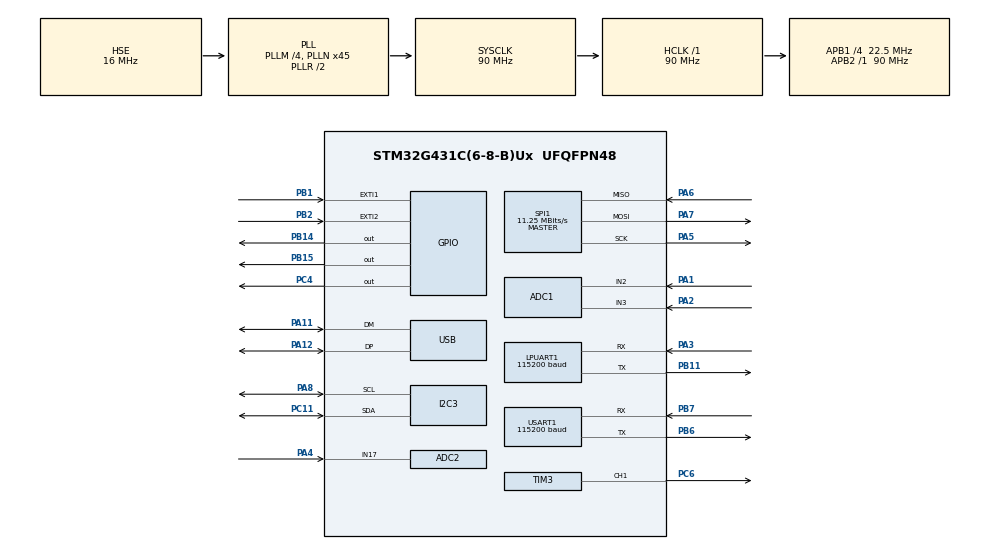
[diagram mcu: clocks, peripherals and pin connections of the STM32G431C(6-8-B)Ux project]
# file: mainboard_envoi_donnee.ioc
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ADC1.Channel-0\#ChannelRegularConversion=ADC_CHANNEL_VREFINT
ADC1.Channel-1\#ChannelRegularConversion=ADC_CHANNEL_TEMPSENSOR_ADC1
ADC1.Channel-2\#ChannelRegularConversion=ADC_CHANNEL_2
ADC1.Channel-3\#ChannelRegularConversion=ADC_CHANNEL_3
ADC1.ContinuousConvMode=ENABLE
ADC1.EOCSelection=ADC_EOC_SEQ_CONV
ADC1.ExternalTrigConv=ADC_EXTERNALTRIG_T4_TRGO
ADC1.NbrOfConversion=4
ADC1.NbrOfConversionFlag=1
ADC1.OffsetNumber-0\#ChannelRegularConversion=ADC_OFFSET_NONE
ADC1.OffsetNumber-1\#ChannelRegularConversion=ADC_OFFSET_NONE
ADC1.OffsetNumber-2\#ChannelRegularConversion=ADC_OFFSET_NONE
ADC1.OffsetNumber-3\#ChannelRegularConversion=ADC_OFFSET_NONE
ADC1.Rank-0\#ChannelRegularConversion=1
ADC1.Rank-1\#ChannelRegularConversion=2
ADC1.Rank-2\#ChannelRegularConversion=3
ADC1.Rank-3\#ChannelRegularConversion=4
ADC1.SamplingTime-0\#ChannelRegularConversion=ADC_SAMPLETIME_640CYCLES_5
ADC1.SamplingTime-1\#ChannelRegularConversion=ADC_SAMPLETIME_640CYCLES_5
ADC1.SamplingTime-2\#ChannelRegularConversion=ADC_SAMPLETIME_640CYCLES_5
ADC1.SamplingTime-3\#ChannelRegularConversion=ADC_SAMPLETIME_640CYCLES_5
ADC1.master=1
ADC2.Channel-0\#ChannelRegularConversion=ADC_CHANNEL_17
ADC2.ContinuousConvMode=ENABLE
ADC2.ExternalTrigConv=ADC_EXTERNALTRIG_T4_TRGO
ADC2.NbrOfConversionFlag=1
ADC2.OffsetNumber-0\#ChannelRegularConversion=ADC_OFFSET_NONE
ADC2.Rank-0\#ChannelRegularConversion=1
ADC2.SamplingTime-0\#ChannelRegularConversion=ADC_SAMPLETIME_640CYCLES_5
Dma.ADC1.2.Direction=DMA_PERIPH_TO_MEMORY
Dma.ADC1.2.EventEnable=DISABLE
Dma.ADC1.2.Instance=DMA1_Channel3
Dma.ADC1.2.MemDataAlignment=DMA_MDATAALIGN_HALFWORD
Dma.ADC1.2.MemInc=DMA_MINC_ENABLE
Dma.ADC1.2.Mode=DMA_CIRCULAR
Dma.ADC1.2.PeriphDataAlignment=DMA_PDATAALIGN_HALFWORD
Dma.ADC1.2.PeriphInc=DMA_PINC_DISABLE
Dma.ADC1.2.Polarity=HAL_DMAMUX_REQ_GEN_RISING
Dma.ADC1.2.Priority=DMA_PRIORITY_LOW
Dma.ADC1.2.RequestNumber=1
Dma.ADC1.2.SignalID=NONE
Dma.ADC1.2.SyncEnable=DISABLE
Dma.ADC1.2.SyncPolarity=HAL_DMAMUX_SYNC_NO_EVENT
Dma.ADC1.2.SyncRequestNumber=1
Dma.ADC1.2.SyncSignalID=NONE
Dma.ADC2.4.Direction=DMA_PERIPH_TO_MEMORY
Dma.ADC2.4.EventEnable=DISABLE
Dma.ADC2.4.Instance=DMA1_Channel5
Dma.ADC2.4.MemDataAlignment=DMA_MDATAALIGN_HALFWORD
Dma.ADC2.4.MemInc=DMA_MINC_ENABLE
Dma.ADC2.4.Mode=DMA_CIRCULAR
Dma.ADC2.4.PeriphDataAlignment=DMA_PDATAALIGN_HALFWORD
Dma.ADC2.4.PeriphInc=DMA_PINC_DISABLE
Dma.ADC2.4.Polarity=HAL_DMAMUX_REQ_GEN_RISING
Dma.ADC2.4.Priority=DMA_PRIORITY_LOW
Dma.ADC2.4.RequestNumber=1
Dma.ADC2.4.SignalID=NONE
Dma.ADC2.4.SyncEnable=DISABLE
Dma.ADC2.4.SyncPolarity=HAL_DMAMUX_SYNC_NO_EVENT
Dma.ADC2.4.SyncRequestNumber=1
Dma.ADC2.4.SyncSignalID=NONE
Dma.LPUART1_RX.0.Direction=DMA_PERIPH_TO_MEMORY
Dma.LPUART1_RX.0.EventEnable=DISABLE
Dma.LPUART1_RX.0.Instance=DMA1_Channel1
Dma.LPUART1_RX.0.MemDataAlignment=DMA_MDATAALIGN_BYTE
Dma.LPUART1_RX.0.MemInc=DMA_MINC_ENABLE
Dma.LPUART1_RX.0.Mode=DMA_NORMAL
Dma.LPUART1_RX.0.PeriphDataAlignment=DMA_PDATAALIGN_BYTE
Dma.LPUART1_RX.0.PeriphInc=DMA_PINC_DISABLE
Dma.LPUART1_RX.0.Polarity=HAL_DMAMUX_REQ_GEN_RISING
Dma.LPUART1_RX.0.Priority=DMA_PRIORITY_LOW
Dma.LPUART1_RX.0.RequestNumber=1
Dma.LPUART1_RX.0.SignalID=NONE
Dma.LPUART1_RX.0.SyncEnable=DISABLE
Dma.LPUART1_RX.0.SyncPolarity=HAL_DMAMUX_SYNC_NO_EVENT
Dma.LPUART1_RX.0.SyncRequestNumber=1
Dma.LPUART1_RX.0.SyncSignalID=NONE
Dma.LPUART1_TX.1.Direction=DMA_MEMORY_TO_PERIPH
Dma.LPUART1_TX.1.EventEnable=DISABLE
Dma.LPUART1_TX.1.Instance=DMA1_Channel2
Dma.LPUART1_TX.1.MemDataAlignment=DMA_MDATAALIGN_BYTE
Dma.LPUART1_TX.1.MemInc=DMA_MINC_ENABLE
Dma.LPUART1_TX.1.Mode=DMA_NORMAL
Dma.LPUART1_TX.1.PeriphDataAlignment=DMA_PDATAALIGN_BYTE
Dma.LPUART1_TX.1.PeriphInc=DMA_PINC_DISABLE
Dma.LPUART1_TX.1.Polarity=HAL_DMAMUX_REQ_GEN_RISING
Dma.LPUART1_TX.1.Priority=DMA_PRIORITY_LOW
Dma.LPUART1_TX.1.RequestNumber=1
Dma.LPUART1_TX.1.SignalID=NONE
Dma.LPUART1_TX.1.SyncEnable=DISABLE
Dma.LPUART1_TX.1.SyncPolarity=HAL_DMAMUX_SYNC_NO_EVENT
Dma.LPUART1_TX.1.SyncRequestNumber=1
Dma.LPUART1_TX.1.SyncSignalID=NONE
Dma.Request0=LPUART1_RX
Dma.Request1=LPUART1_TX
Dma.Request2=ADC1
Dma.Request3=USART1_RX
Dma.Request4=ADC2
Dma.USART1_RX.3.Direction=DMA_PERIPH_TO_MEMORY
Dma.USART1_RX.3.EventEnable=DISABLE
Dma.USART1_RX.3.Instance=DMA1_Channel4
Dma.USART1_RX.3.MemDataAlignment=DMA_MDATAALIGN_BYTE
Dma.USART1_RX.3.MemInc=DMA_MINC_ENABLE
Dma.USART1_RX.3.Mode=DMA_CIRCULAR
Dma.USART1_RX.3.PeriphDataAlignment=DMA_PDATAALIGN_BYTE
Dma.USART1_RX.3.PeriphInc=DMA_PINC_DISABLE
Dma.USART1_RX.3.Polarity=HAL_DMAMUX_REQ_GEN_RISING
Dma.USART1_RX.3.Priority=DMA_PRIORITY_LOW
Dma.USART1_RX.3.RequestNumber=1
Dma.USART1_RX.3.SignalID=NONE
Dma.USART1_RX.3.SyncEnable=DISABLE
Dma.USART1_RX.3.SyncPolarity=HAL_DMAMUX_SYNC_NO_EVENT
Dma.USART1_RX.3.SyncRequestNumber=1
Dma.USART1_RX.3.SyncSignalID=NONE
I2C3.Timing=0x0070597B
LPUART1.BaudRate=115200
Mcu.Family=STM32G4
Mcu.Name=STM32G431C(6-8-B)Ux
Mcu.Package=UFQFPN48
NVIC.DMA1_Channel1_IRQn=true\:0\:0\:false\:false\:true\:false\:true\:true
NVIC.DMA1_Channel2_IRQn=true\:0\:0\:false\:false\:true\:false\:true\:true
NVIC.DMA1_Channel3_IRQn=true\:0\:0\:false\:false\:true\:false\:true\:true
NVIC.DMA1_Channel4_IRQn=true\:0\:0\:false\:false\:true\:false\:true\:true
NVIC.DMA1_Channel5_IRQn=true\:0\:0\:false\:false\:true\:false\:true\:true
NVIC.EXTI1_IRQn=true\:0\:0\:false\:false\:true\:true\:true\:true
NVIC.EXTI2_IRQn=true\:0\:0\:false\:false\:true\:true\:true\:true
NVIC.LPUART1_IRQn=true\:0\:0\:false\:false\:true\:true\:true\:true
NVIC.PriorityGroup=NVIC_PRIORITYGROUP_4
NVIC.TIM2_IRQn=true\:0\:0\:false\:false\:true\:true\:true\:true
NVIC.TIM3_IRQn=true\:0\:0\:false\:false\:true\:true\:true\:true
NVIC.USART1_IRQn=true\:0\:0\:false\:false\:true\:true\:true\:true
PA1.Mode=IN2-Single-Ended
PA1.Signal=ADC1_IN2
PA11.Mode=Device
PA11.Signal=USB_DM
PA12.Mode=Device
PA12.Signal=USB_DP
PA13.Mode=Trace_Asynchronous_SW
PA13.Signal=SYS_JTMS-SWDIO
PA14.Mode=Trace_Asynchronous_SW
PA14.Signal=SYS_JTCK-SWCLK
PA2.Mode=IN3-Single-Ended
PA2.Signal=ADC1_IN3
PA3.Mode=Asynchronous
PA3.Signal=LPUART1_RX
PA4.Mode=IN17-Single-Ended
PA4.Signal=ADC2_IN17
PA5.Mode=Full_Duplex_Master
PA5.Signal=SPI1_SCK
PA6.Mode=Full_Duplex_Master
PA6.Signal=SPI1_MISO
PA7.Mode=Full_Duplex_Master
PA7.Signal=SPI1_MOSI
PA8.Mode=I2C
PA8.Signal=I2C3_SCL
PB1.Signal=GPXTI1
PB11.Mode=Asynchronous
PB11.Signal=LPUART1_TX
PB14.Signal=GPIO_Output
PB15.Signal=GPIO_Output
PB2.Signal=GPXTI2
PB3.Mode=Trace_Asynchronous_SW
PB3.Signal=SYS_JTDO-SWO
PB6.Mode=Asynchronous
PB6.Signal=USART1_TX
PB7.Mode=Asynchronous
PB7.Signal=USART1_RX
PC11.Mode=I2C
PC11.Signal=I2C3_SDA
PC4.Signal=GPIO_Output
PC6.Signal=S_TIM3_CH1
PF0-OSC_IN.Mode=HSE-External-Oscillator
PF0-OSC_IN.Signal=RCC_OSC_IN
PF1-OSC_OUT.Mode=HSE-External-Oscillator
PF1-OSC_OUT.Signal=RCC_OSC_OUT
ProjectManager.HeapSize=0x200
ProjectManager.StackSize=0x400
ProjectManager.TargetToolchain=STM32CubeIDE
RCC.ADC12Freq_Value=90000000
RCC.AHBFreq_Value=90000000
RCC.APB1CLKDivider=RCC_HCLK_DIV4
RCC.APB1Freq_Value=22500000
RCC.APB1TimFreq_Value=45000000
RCC.APB2Freq_Value=90000000
RCC.APB2TimFreq_Value=90000000
RCC.CK48CLockSelection=RCC_USBCLKSOURCE_HSI48
RCC.CortexFreq_Value=90000000
RCC.EXTERNAL_CLOCK_VALUE=12288000
RCC.HCLKFreq_Value=90000000
RCC.HSE_VALUE=16000000
RCC.HSI48_VALUE=48000000
RCC.HSI_VALUE=16000000
RCC.LSE_VALUE=32768
RCC.PLLM=RCC_PLLM_DIV4
RCC.PLLN=45
RCC.PLLSourceVirtual=RCC_PLLSOURCE_HSE
RCC.SYSCLKFreq_VALUE=90000000
RCC.SYSCLKSource=RCC_SYSCLKSOURCE_PLLCLK
RCC.USART1CLockSelection=RCC_USART1CLKSOURCE_HSI
RCC.USBFreq_Value=48000000
RCC.VCOOutputFreq_Value=180000000
SH.S_TIM3_CH1.0=TIM3_CH1,PWM Generation1 CH1
SPI1.BaudRatePrescaler=SPI_BAUDRATEPRESCALER_8
SPI1.CalculateBaudRate=11.25 MBits/s
SPI1.DataSize=SPI_DATASIZE_8BIT
SPI1.Direction=SPI_DIRECTION_2LINES
SPI1.Mode=SPI_MODE_MASTER
SPI1.VirtualType=VM_MASTER
TIM2.PeriodNoDither=9
TIM2.Prescaler=4499
TIM3.Channel-PWM\ Generation1\ CH1=TIM_CHANNEL_1
TIM3.PeriodNoDither=19999
TIM3.Prescaler=44
TIM4.PeriodNoDither=100-1
TIM4.Prescaler=64000-1
TIM4.TIM_MasterOutputTrigger=TIM_TRGO_UPDATE
USART1.BaudRate=115200
USART1.VirtualMode-Asynchronous=VM_ASYNC
VP_ADC1_TempSens_Input.Mode=IN-TempSens
VP_ADC1_Vref_Input.Mode=IN-Vrefint
VP_FATFS_VS_Generic.Mode=User_defined
VP_SYS_VS_DBSignals.Mode=DisableDeadBatterySignals
VP_TIM2_VS_ClockSourceINT.Mode=Internal
VP_TIM3_VS_ClockSourceINT.Mode=Internal
VP_TIM4_VS_ClockSourceINT.Mode=Internal
board=custom

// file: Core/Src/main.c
/* USER CODE BEGIN Header */
/**
  ******************************************************************************
  * @file           : main.c
  * @brief          : Main program body
  ******************************************************************************
  * @attention
  *
  * Copyright (c) 2024 STMicroelectronics.
  * All rights reserved.
  *
  * This software is licensed under terms that can be found in the LICENSE file
  * in the root directory of this software component.
  * If no LICENSE file comes with this software, it is provided AS-IS.
  *
  ******************************************************************************
  */
/* USER CODE END Header */
#include "main.h"
#include "adc.h"
#include "dma.h"
#include "app_fatfs.h"
#include "i2c.h"
#include "usart.h"
#include "spi.h"
#include "tim.h"
#include "usb.h"
#include "gpio.h"

/* USER CODE BEGIN Includes */
#include "fatfs_sd.h"
#include "nmea_parse.h"
#include "6axis.h"
/* USER CODE END Includes */

/* USER CODE BEGIN PV */
FATFS fs;
FATFS *pfs;
FIL fil;
FRESULT fres;
DWORD fre_clust;
uint32_t total, free1;

uint8_t tarvos_TX_Buffer[TarvosTxBufferSize];
uint8_t tarvos_TX_Tampon[TarvosTxTamponSize];
uint8_t tarvos_RX_Buffer[TarvosRxBufferSize];
uint8_t tarvos_RX_Tampon[TarvosRxTamponSize];
uint8_t GPS_RX_Buffer[GPSRxBufferSize];
uint8_t GPS_RX_Tampon[GPSRxTamponSize];

uint8_t SD_Card_Write_Buffer[256];

int GPSbufferoldpos=0;
int GPSbuffernewpos=0;
int TarvosRXbufferoldpos=0;
int TarvosRXbuffernewpos=0;

uint8_t commandtarvos[]={0x02,0x00,};

uint16_t rawADCdata[5];
float temp=0;
float vrefint=0;
float vbat=0;
float current=0;
float power=0;
float vexternalsensor=0;

char gyro[41];
char time[9];
extern char loc[26];
char buffer_envoi[100];

extern int flag_envoi ;
extern int flag_capteur;

char bufferdonnee[50];
int indexsdcard=0;

extern TIM_HandleTypeDef htim2;
extern TIM_HandleTypeDef htim3;
extern TIM_HandleTypeDef htim4;

/* USER CODE END PV */

void SystemClock_Config(void);

int main(void)
{

  /* MCU Configuration--------------------------------------------------------*/

  /* Reset of all peripherals, Initializes the Flash interface and the Systick. */
  HAL_Init();

  /* Configure the system clock */
  SystemClock_Config();

  /* Initialize all configured peripherals */
  MX_GPIO_Init();
  MX_DMA_Init();
  MX_SPI1_Init();
  MX_USB_PCD_Init();
  if (MX_FATFS_Init() != APP_OK) {
    Error_Handler();
  }
  MX_I2C3_Init();
  MX_LPUART1_UART_Init();
  MX_ADC1_Init();
  MX_USART1_UART_Init();
  MX_TIM3_Init();
  MX_TIM4_Init();
  MX_ADC2_Init();
  MX_TIM2_Init();
  /* USER CODE BEGIN 2 */

  HAL_ADC_Start_DMA(&hadc1,(uint16_t*)rawADCdata, 5);
  HAL_ADC_Start_DMA(&hadc2,(uint16_t*)rawADCdata+4, 1);
  HAL_TIM_PWM_Start(&htim3,TIM_CHANNEL_1);

  HAL_GPIO_WritePin(GPIOB,GPIO_PIN_15,GPIO_PIN_SET);

  HAL_Delay(100);
  HAL_UART_Abort(&huart1);
  HAL_UART_Receive_DMA(&huart1, (uint8_t *)GPS_RX_Tampon, GPSRxTamponSize);

  HAL_Delay(100);
  HAL_UART_Abort(&hlpuart1);
  HAL_UART_Receive_DMA(&hlpuart1, (uint8_t *)tarvos_RX_Tampon, TarvosRxTamponSize);

  Init_HighPerf_Mode_6_axis();

  f_mount(&fs, "", 0);

// f_open(&fil, "debut.txt", FA_OPEN_ALWAYS | FA_READ | FA_WRITE);
//
// f_getfree("", &fre_clust, &pfs);
//
//  total = (uint32_t)((pfs->n_fatent - 2) * pfs->csize * 0.5);
//  free1 = (uint32_t)(fre_clust * pfs->csize * 0.5);
//
//  snprintf((uint8_t *) SD_Card_Write_Buffer,256,"adc1=%d,adc2=%d,adc3=%d,adc4=%d,adc5=%d\n\r",rawADCdata[0],rawADCdata[1],rawADCdata[2],rawADCdata[3],rawADCdata[4]);
//
//  f_puts("test", &fil);
//  f_puts((uint8_t *) SD_Card_Write_Buffer, &fil);
//  snprintf((uint8_t *) SD_Card_Write_Buffer,256,"adc1=%d,adc2=%d,adc3=%d,adc4=%d,adc5=%d\n\r",rawADCdata[0],rawADCdata[1],rawADCdata[2],rawADCdata[3],rawADCdata[4]);
//  f_puts((uint8_t *) SD_Card_Write_Buffer, &fil);
//  f_close(&fil);
//  /* Unmount SDCARD */
//  f_mount(NULL, "", 1);

  int indexboucle=0;
  int tarvosen=0;
  f_open(&fil, "test.txt", FA_OPEN_ALWAYS | FA_READ | FA_WRITE);
  f_getfree("", &fre_clust, &pfs);
  f_puts("test\n", &fil);

  HAL_TIM_Base_Start_IT(&htim2);
  HAL_TIM_Base_Start_IT(&htim4);

  /* USER CODE END 2 */

  /* Infinite loop */
  /* USER CODE BEGIN WHILE */
  INIT_PERM_TARVOS(0x16, 0x07);
  while (1)
  {
	  //L'adresse du module est 1° et il envoit à 2°
	 //SEND_DATA_NETW("Voila le test",0x82, 0x07, sizeof("Voila le test")); // on envoi à l'adresse 0x07

	 if (flag_capteur == 1){
			  //strcpy(gyro, Read_sensor_data());
			  //strcpy(time,Get_Time());
			  //strcpy(loc,Get_Loc());
	  		  flag_capteur = 0;
	  	 }
	 if (flag_envoi == 1){
		 SEND_DATA_NETW(buffer_envoi,0x82, 0x02, sizeof(buffer_envoi)); // on envoi à l'adresse 0x02
		 flag_envoi = 0;
	 }

	 HAL_Delay(100);

    /* USER CODE END WHILE */

  }
}

void SystemClock_Config(void)
{
  RCC_OscInitTypeDef RCC_OscInitStruct = {0};
  RCC_ClkInitTypeDef RCC_ClkInitStruct = {0};

  /** Configure the main internal regulator output voltage
  */
  HAL_PWREx_ControlVoltageScaling(PWR_REGULATOR_VOLTAGE_SCALE1);

  /** Initializes the RCC Oscillators according to the specified parameters
  * in the RCC_OscInitTypeDef structure.
  */
  RCC_OscInitStruct.OscillatorType = RCC_OSCILLATORTYPE_HSI|RCC_OSCILLATORTYPE_HSI48
                              |RCC_OSCILLATORTYPE_HSE;
  RCC_OscInitStruct.HSEState = RCC_HSE_ON;
  RCC_OscInitStruct.HSIState = RCC_HSI_ON;
  RCC_OscInitStruct.HSICalibrationValue = RCC_HSICALIBRATION_DEFAULT;
  RCC_OscInitStruct.HSI48State = RCC_HSI48_ON;
  RCC_OscInitStruct.PLL.PLLState = RCC_PLL_ON;
  RCC_OscInitStruct.PLL.PLLSource = RCC_PLLSOURCE_HSE;
  RCC_OscInitStruct.PLL.PLLM = RCC_PLLM_DIV4;
  RCC_OscInitStruct.PLL.PLLN = 45;
  RCC_OscInitStruct.PLL.PLLP = RCC_PLLP_DIV2;
  RCC_OscInitStruct.PLL.PLLQ = RCC_PLLQ_DIV2;
  RCC_OscInitStruct.PLL.PLLR = RCC_PLLR_DIV2;
  if (HAL_RCC_OscConfig(&RCC_OscInitStruct) != HAL_OK)
  {
    Error_Handler();
  }

  /** Initializes the CPU, AHB and APB buses clocks
  */
  RCC_ClkInitStruct.ClockType = RCC_CLOCKTYPE_HCLK|RCC_CLOCKTYPE_SYSCLK
                              |RCC_CLOCKTYPE_PCLK1|RCC_CLOCKTYPE_PCLK2;
  RCC_ClkInitStruct.SYSCLKSource = RCC_SYSCLKSOURCE_PLLCLK;
  RCC_ClkInitStruct.AHBCLKDivider = RCC_SYSCLK_DIV1;
  RCC_ClkInitStruct.APB1CLKDivider = RCC_HCLK_DIV4;
  RCC_ClkInitStruct.APB2CLKDivider = RCC_HCLK_DIV1;

  if (HAL_RCC_ClockConfig(&RCC_ClkInitStruct, FLASH_LATENCY_2) != HAL_OK)
  {
    Error_Handler();
  }
}

/* USER CODE BEGIN 4 */
void mise_sous_buffer(char loc[],char time[],char ){

}
/* USER CODE END 4 */

void Error_Handler(void)
{
  __disable_irq();
  while (1)
  {
  }
}
